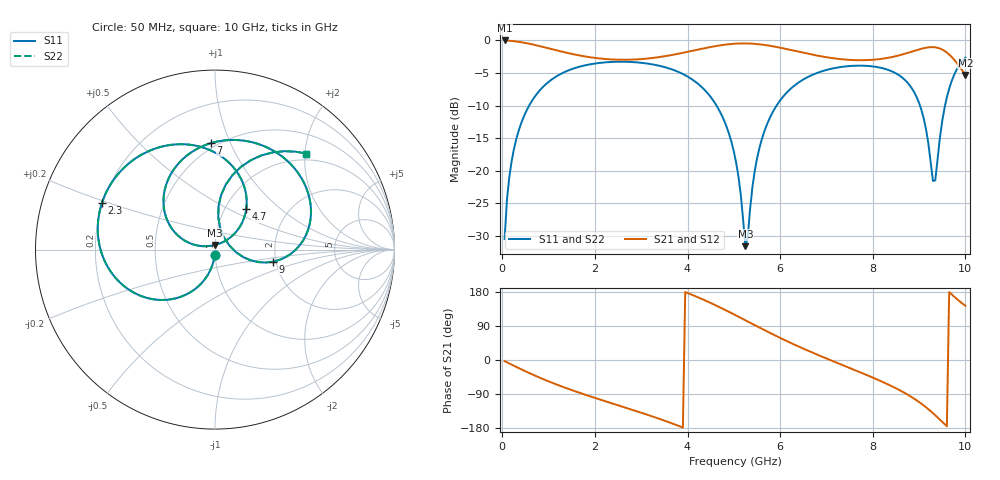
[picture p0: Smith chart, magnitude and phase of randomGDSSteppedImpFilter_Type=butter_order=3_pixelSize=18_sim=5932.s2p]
! freq	dB(S11)	phase(S11)	dB(S12)	phase(S12)
!  dB(S21)	phase(S21)	dB(S22)	phase(S22)
!S-par simulation data
#  GHz  S  DB  R 50
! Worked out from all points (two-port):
!   200 points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, 50 MHz to 10 GHz, reference 50 ohm
!   highest |S21| = -0.01 dB at 50 MHz (marker M1); lowest = -5.3 dB at 10 GHz (marker M2)
!   |S21| within 3 dB of the highest: start of sweep to 7.545 GHz; 7.928 GHz to 9.763 GHz (1.835 GHz wide, 20.7 % of centre)
!   lowest |S11| = -31.6 dB at 5.25 GHz (marker M3), VSWR 1.05, Z = 50.1 + j2.63 ohm
!   |S11| at or under -10 dB: start of sweep to 581.4 MHz; 4.625 GHz to 5.924 GHz (1.3 GHz wide, 24.6 % of centre); 9.018 GHz to 9.561 GHz (542.6 MHz wide, 5.84 % of centre)
!   |S22| runs from -31.5 to -2.6 dB; largest |S21 - S12| = 0
!   S11 on the Smith chart (normalised r, x): 50 MHz: 0.99, -0.06; 2.3 GHz: 0.20, +0.19; 4.7 GHz: 1.25, +0.61; 7 GHz: 0.46, +0.85; 9 GHz: 1.93, -0.29; 10 GHz: 0.86, +2.03
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0.05  -30.52 -93.2  -0.01 -3.1  -0.01 -3.1  -30.52 -93.2
0.2  -18.62 -102.7  -0.08 -12.2  -0.08 -12.2  -18.62 -102.7
0.5  -11.13 -120.4  -0.39 -29.8  -0.39 -29.8  -11.13 -120.4
1.05  -6.09 -149.4  -1.31 -58.9  -1.31 -58.9  -6.09 -149.4
1.75  -3.89 179.5  -2.42 -90.0  -2.42 -90.0  -3.89 179.5
2.3  -3.33 157.7  -2.90 -111.8  -2.90 -111.8  -3.33 157.7
3.4  -3.91 114.3  -2.55 -155.6  -2.55 -155.6  -3.91 114.3
4.15  -6.24 80.3  -1.53 169.4  -1.53 169.4  -6.24 80.3
4.7  -10.95 52.2  -0.76 138.9  -0.76 138.9  -10.95 52.3
5.05  -18.78 38.3  -0.49 117.4  -0.49 117.4  -18.78 38.4
5.25  -31.60 86.4  -0.46 104.8  -0.46 104.8  -31.55 86.5
5.45  -20.11 167.0  -0.53 92.1  -0.53 92.1  -20.10 166.9
5.7  -13.18 159.4  -0.74 76.4  -0.74 76.4  -13.18 159.4
6.2  -7.60 133.2  -1.42 46.7  -1.42 46.7  -7.60 133.2
6.7  -5.28 107.2  -2.19 19.4  -2.19 19.4  -5.28 107.2
7  -4.54 92.3  -2.58 4.0  -2.58 4.0  -4.54 92.3
7.65  -3.88 61.0  -3.03 -28.5  -3.03 -28.5  -3.88 61.0
8.35  -4.57 25.9  -2.65 -65.6  -2.65 -65.6  -4.57 25.9
9  -9.61 -11.8  -1.38 -110.9  -1.38 -110.9  -9.61 -11.7
9.35  -21.48 53.5  -1.06 -145.9  -1.06 -145.9  -21.46 53.4
9.6  -8.73 80.6  -1.86 -174.9  -1.86 -174.9  -8.73 80.6
10  -2.64 46.5  -5.29 143.1  -5.29 143.1  -2.64 46.5
